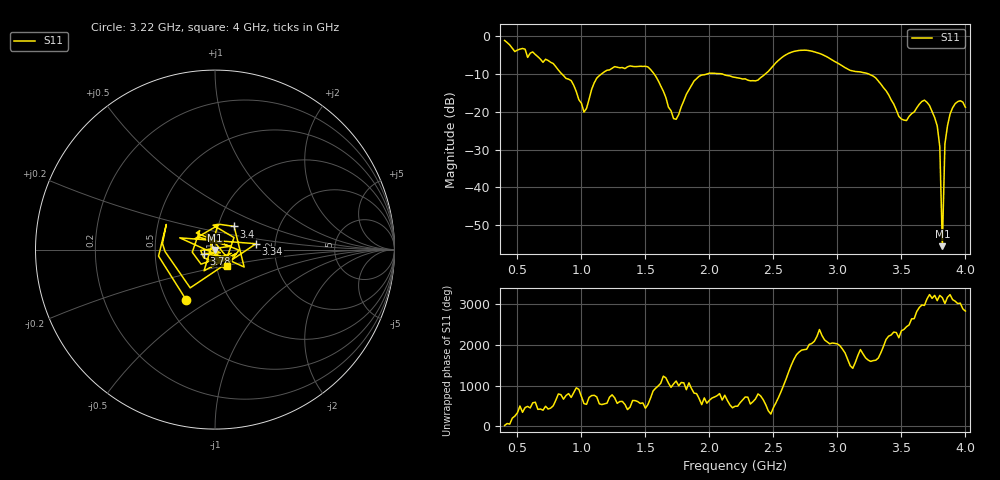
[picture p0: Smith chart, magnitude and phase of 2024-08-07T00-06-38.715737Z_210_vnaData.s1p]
!Created with skrf (http://scikit-rf.org).
# Hz S RI R 50.0
!freq ReS11 ImS11
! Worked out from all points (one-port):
!   181 points, 400 MHz to 4 GHz, reference 50 ohm
!   lowest |S11| = -55.5 dB at 3.82 GHz (marker M1), VSWR 1.00, Z = 50 - j0.167 ohm
!   |S11| at or under -10 dB: 1.567 GHz to 1.986 GHz (419.1 MHz wide, 23.6 % of centre); 2.092 GHz to 2.439 GHz (346.9 MHz wide, 15.3 % of centre); 3.241 GHz to end of sweep (the widest 3 of 4)
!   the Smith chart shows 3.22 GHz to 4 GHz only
!   S11 on the Smith chart (normalised r, x): 3.22 GHz: 0.63, -0.40; 3.34 GHz: 1.59, +0.11; 3.4 GHz: 1.19, +0.32; 3.78 GHz: 0.88, -0.04; 4 GHz: 1.12, -0.21
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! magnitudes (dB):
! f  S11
! 400 MHz  -1.2
! 860 MHz  -10.5
! 920 MHz  -11.8
! 1.02 GHz  -20.1
! 1.12 GHz  -11.1
! 1.3 GHz  -8.4
! 1.52 GHz  -8.2
! 1.6 GHz  -11.8
! 1.72 GHz  -21.8
! 1.76 GHz  -20.8
! 1.92 GHz  -10.6
! 2.2 GHz  -11.0
! 2.38 GHz  -11.6
! 2.66 GHz  -4.1
! 3.1 GHz  -9.1
! 3.22 GHz  -9.8
! 3.34 GHz  -12.7
! 3.4 GHz  -15.5
! 3.48 GHz  -21.2
! 3.56 GHz  -21.2
! 3.68 GHz  -17.0
! 3.78 GHz  -23.8
! 3.8 GHz  -29.3
! 3.82 GHz  -55.5
! 3.84 GHz  -28.5
! 3.86 GHz  -23.8
! 3.92 GHz  -17.9
! 4 GHz  -18.8
